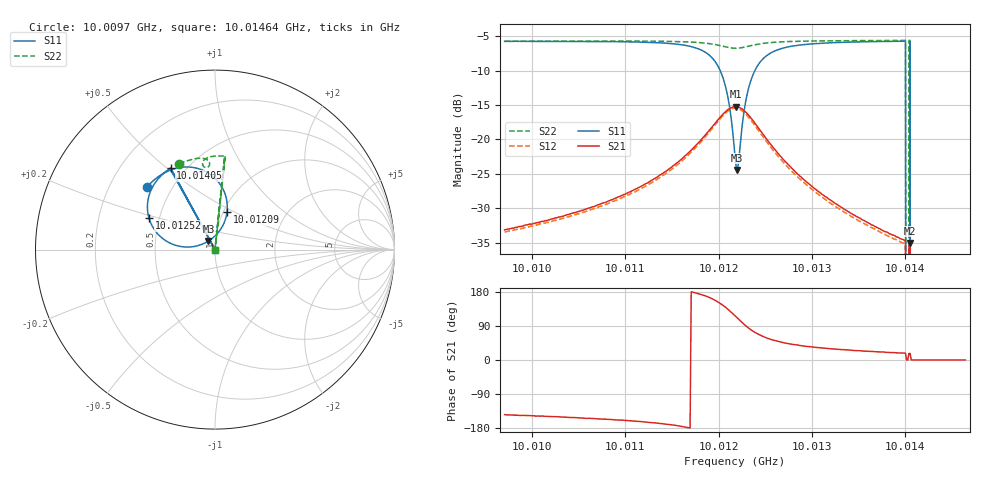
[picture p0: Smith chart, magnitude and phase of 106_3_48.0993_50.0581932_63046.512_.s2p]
#  HZ  S  RI  R  50.00
! Rohde & Schwarz Vector Network Analyzer
! Rohde-Schwarz,ZNB20-2Port,1311601062101988,3.16
! Created: UTC 12/23/2023, 3:45:17 AM
! freq[Hz]  re:S11  im:S11  re:S21  im:S21  re:S12  im:S12  re:S22  im:S22
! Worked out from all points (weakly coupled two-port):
!   401 points, 10.0097 GHz to 10.01464 GHz, reference 50 ohm
!   highest |S21| = -15.24 dB at 10.01219 GHz (marker M1); lowest = -35.1 dB at 10.01405 GHz (marker M2)
!   lowest |S11| = -24.4 dB at 10.0122 GHz (marker M3), VSWR 1.13, Z = 46.3 + j4.4 ohm
!   |S11| at or under -10 dB: 10.01202 GHz to 10.01239 GHz (371.9 kHz wide, 0.00371 % of centre); 10.014 GHz to 10.01405 GHz (48.86 kHz wide, 0.000488 % of centre); 10.01405 GHz to end of sweep
!   |S22| runs from - to -5.6 dB; largest |S21 - S12| = 0.0086
!   S11 on the Smith chart (normalised r, x): 10.0097 GHz: 0.36, +0.34; 10.01209 GHz: 1.04, +0.46; 10.01252 GHz: 0.44, +0.19; 10.01405 GHz: 0.42, +0.52; 10.01464 GHz: 1.00, +0.00
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1.0009704e10  -0.3809 0.3472  -0.0178 -0.0129  -0.0167 -0.0131  -0.1994 0.4784
1.0010532e10  -0.3257 0.3991  -0.0273 -0.0138  -0.0255 -0.0146  -0.1472 0.4976
1.0011359e10  -0.2219 0.4519  -0.053 -0.0123  -0.0503 -0.0143  -0.0878 0.5091
1.0011878e10  -0.0264 0.4192  -0.1092 0.0249  -0.1072 0.0184  -0.0393 0.497
1.0012088e10  0.0668 0.2082  -0.1172 0.1126  -0.1193 0.1047  -0.0323 0.4672
1.0012175e10  -0.000464 0.0754  -0.077 0.1549  -0.0808 0.1482  -0.0457 0.4573
1.0012187e10  -0.0173 0.0609  -0.0692 0.1586  -0.0728 0.1521  -0.0483 0.457
1.0012199e10  -0.0368 0.0474  -0.0606 0.1616  -0.0648 0.1551  -0.0509 0.4571
1.0012335e10  -0.2531 0.0375  0.0216 0.1445  0.0159 0.1396  -0.0688 0.4733
1.001252e10  -0.3684 0.1776  0.0532 0.0836  0.0477 0.0818  -0.0611 0.4987
1.0013002e10  -0.3447 0.3551  0.0375 0.0257  0.0346 0.026  -0.0191 0.5185
1.001383e10  -0.2658 0.4415  0.0194 0.00697  0.0181 0.00769  0.0416 0.5212
1.0013978e10  -0.2535 0.4503  0.0178 0.00588  0.0164 0.00642  0.0517 0.5209
1.0014002e10  -0.2515 0.4517  0.0174 0.00564  0.0163 0.00625  0.0533 0.5206
1.0014015e10  0 0  0 0  0 0  0 0
1.0014027e10  0 0  0 0  0 0  0 0
1.0014039e10  0 0  0.0171 0.00535  0.0158 0.00602  0.0559 0.5204
1.0014052e10  -0.2476 0.4543  0.0169 0.00521  0.0158 0.00574  0.0568 0.5203
1.0014064e10  0 0  0 0  0 0  0 0
1.0014077e10  0 0  0 0  0 0  0 0
1.0014089e10  0 0  0 0  0 0  0 0
1.0014645e10  0 0  0 0  0 0  0 0
